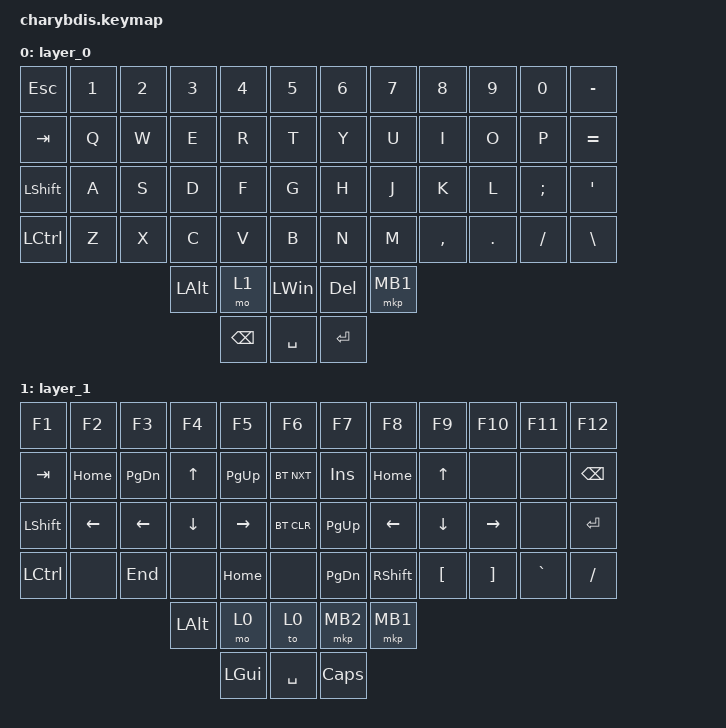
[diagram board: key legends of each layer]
#include <dt-bindings/zmk/mouse.h>
#include <behaviors.dtsi>
#include <dt-bindings/zmk/bt.h>
#include <dt-bindings/zmk/keys.h>

&lt {
    tapping-term-ms = <200>;
    flavor = "balanced";
    quick-tap-ms = <150>;
};

/ {
    keymap {
        compatible = "zmk,keymap";

        layer_0 {
            bindings = <
&kp ESC         &kp N1  &kp N2  &kp N3        &kp N4         &kp N5       &kp N6      &kp N7    &kp N8     &kp N9   &kp N0     &kp MINUS
&kp TAB         &kp Q   &kp W   &kp E         &kp R          &kp T        &kp Y       &kp U     &kp I      &kp O    &kp P      &kp EQUAL
&kp LEFT_SHIFT  &kp A   &kp S   &kp D         &kp F          &kp G        &kp H       &kp J     &kp K      &kp L    &kp SEMI   &kp SQT
&kp LCTRL       &kp Z   &kp X   &kp C         &kp V          &kp B        &kp N       &kp M     &kp COMMA  &kp DOT  &kp SLASH  &kp BSLH
                                &kp LEFT_ALT  &mo 1          &kp LWIN     &kp DELETE  &mkp MB1
                                              &kp BACKSPACE  &kp SPACE    &kp ENTER
            >;

            trackball-bindings = <&tmv_coarse>;
        };

        layer_1 {
            bindings = <
&kp F1          &kp F2    &kp F3     &kp F4        &kp F5        &kp F6        &kp F7     &kp F8           &kp F9    &kp F10    &kp F11    &kp F12
&kp TAB         &kp HOME  &kp PG_DN  &kp UP        &kp PG_UP     &bt BT_NXT    &kp INS    &kp HOME         &kp UP    &none      &none      &kp BSPC
&kp LEFT_SHIFT  &kp LEFT  &kp LEFT   &kp DOWN      &kp RIGHT     &bt BT_CLR    &kp PG_UP  &kp LEFT         &kp DOWN  &kp RIGHT  &none      &kp ENTER
&kp LCTRL       &none     &kp END    &none         &kp HOME      &none         &kp PG_DN  &kp RIGHT_SHIFT  &kp LBKT  &kp RBKT   &kp GRAVE  &kp FSLH
                                     &kp LEFT_ALT  &mo 0         &to 0         &mkp MB2   &mkp MB1
                                                   &kp LEFT_GUI  &kp SPACE     &kp CAPS
            >;
        };

        /*layer_2 {
            bindings = <
&none  &none   &none    &none   &none         &none         &none         &none         &none     &none  &none   &kp F11
&none  &none   &none    &none   &none         &none         &none         &none         &none     &none  &none   &none
&none  &none   &none    &none   &none         &none         &none         &mkp LCLK     &mkp RCLK  &none  &none   &none
&none  &none   &none    &none   &bt BT_NXT  &bt BT_CLR    &none         &none         &none     &none  &none   &none
                                   &none         &none         &none         &none         &none
                                                 &none         &none         &none
            >;

            
        };*/
        /* Mouse {
            bindings = <
&none        &none         &none         &none         &none      &none         &none       &none      &none         &none         &none         &none
&none        &bt BT_SEL 0  &bt BT_SEL 1  &bt BT_SEL 3  &none      &bt BT_CLR    &bt BT_CLR  &none      &bt BT_SEL 2  &bt BT_SEL 1  &bt BT_SEL 0  &none
&none        &trans        &trans        &mkp MCLK     &trans     &none         &none       &trans     &mkp MCLK     &trans        &trans        &none
&bootloader  &trans        &mkp RCLK     &mo 4         &mkp LCLK  &mo 5         &mo 5       &mkp LCLK  &mo 4         &mkp RCLK     &trans        &bootloader
                                         &mo 5         &mkp LCLK  &mkp RCLK     &mkp RCLK   &mkp LCLK
                                                       &none      &trans        &trans
            >;

            
        };

        layer_4 {
            bindings = <
&trans  &trans  &trans     &trans     &trans     &trans       &trans     &trans     &trans     &trans     &trans  &trans
&trans  &trans  &trans     &trans     &trans     &trans       &trans     &trans     &trans     &trans     &trans  &trans
&trans  &trans  &trans     &mkp MCLK  &trans     &trans       &trans     &trans     &mkp MCLK  &trans     &trans  &trans
&trans  &trans  &mkp RCLK  &trans     &mkp LCLK  &trans       &trans     &mkp LCLK  &trans     &mkp RCLK  &trans  &trans
                           &trans     &mkp LCLK  &mkp RCLK    &mkp RCLK  &mkp LCLK
                                      &trans     &trans       &trans
            >;
                
                
                trackball-bindings = <&tsl>;
        };

        layer_5 {
            bindings = <
&trans  &trans  &trans     &trans     &trans     &trans       &trans     &trans     &trans     &trans     &trans  &trans
&trans  &trans  &trans     &trans     &trans     &trans       &trans     &trans     &trans     &trans     &trans  &trans
&trans  &trans  &trans     &mkp MCLK  &trans     &trans       &trans     &trans     &mkp MCLK  &trans     &trans  &trans
&trans  &trans  &mkp RCLK  &trans     &mkp LCLK  &trans       &trans     &mkp LCLK  &trans     &mkp RCLK  &trans  &trans
                           &trans     &mkp LCLK  &mkp RCLK    &mkp RCLK  &mkp LCLK
                                      &trans     &trans       &trans
            >;
                trackball-bindings = <&tmv_fine>;
                
        };*/
    };
};
